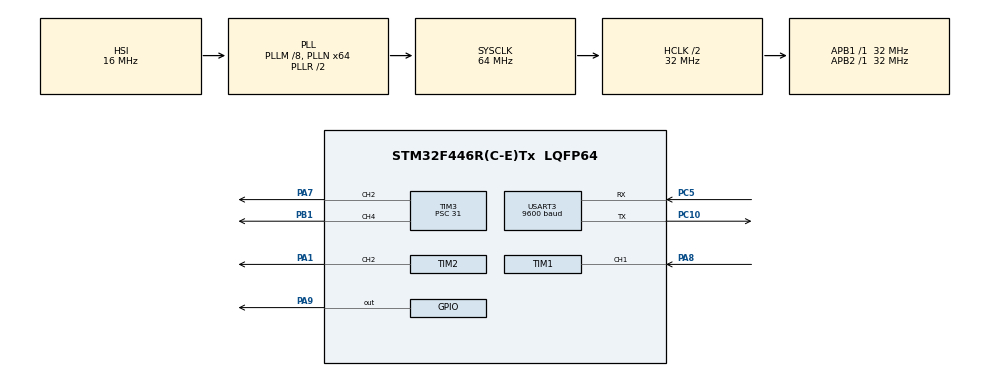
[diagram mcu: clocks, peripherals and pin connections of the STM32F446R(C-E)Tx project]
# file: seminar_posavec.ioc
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Mcu.Family=STM32F4
Mcu.Name=STM32F446R(C-E)Tx
Mcu.Package=LQFP64
NVIC.PriorityGroup=NVIC_PRIORITYGROUP_4
NVIC.TIM1_CC_IRQn=true\:2\:0\:true\:false\:true\:true\:true\:true
NVIC.USART3_IRQn=true\:0\:0\:false\:false\:true\:true\:true\:true
PA1.Signal=S_TIM2_CH2
PA13.Mode=Serial_Wire
PA13.Signal=SYS_JTMS-SWDIO
PA14.Mode=Serial_Wire
PA14.Signal=SYS_JTCK-SWCLK
PA7.Signal=S_TIM3_CH2
PA8.Signal=S_TIM1_CH1
PA9.Signal=GPIO_Output
PB1.Signal=S_TIM3_CH4
PC10.Mode=Asynchronous
PC10.Signal=USART3_TX
PC5.Mode=Asynchronous
PC5.Signal=USART3_RX
ProjectManager.HeapSize=0x200
ProjectManager.StackSize=0x400
ProjectManager.TargetToolchain=STM32CubeIDE
RCC.AHBCLKDivider=RCC_SYSCLK_DIV2
RCC.AHBFreq_Value=32000000
RCC.APB1Freq_Value=32000000
RCC.APB1TimFreq_Value=32000000
RCC.APB2Freq_Value=32000000
RCC.APB2TimFreq_Value=32000000
RCC.CortexFreq_Value=32000000
RCC.HCLKFreq_Value=32000000
RCC.PLLM=8
RCC.PLLN=64
RCC.SYSCLKFreq_VALUE=64000000
RCC.SYSCLKSource=RCC_SYSCLKSOURCE_PLLRCLK
RCC.USBFreq_Value=64000000
RCC.VCOOutputFreq_Value=128000000
SH.S_TIM1_CH1.0=TIM1_CH1,Input_Capture1_from_TI1
SH.S_TIM2_CH2.0=TIM2_CH2,PWM Generation2 CH2
SH.S_TIM3_CH2.0=TIM3_CH2,PWM Generation2 CH2
SH.S_TIM3_CH4.0=TIM3_CH4,PWM Generation4 CH4
TIM1.Channel-Input_Capture1_from_TI1=TIM_CHANNEL_1
TIM1.Period=0xffff-1
TIM1.Prescaler=31
TIM2.Channel-PWM\ Generation2\ CH2=TIM_CHANNEL_2
TIM2.Period=19999
TIM2.Prescaler=31
TIM3.Channel-PWM\ Generation2\ CH2=TIM_CHANNEL_2
TIM3.Channel-PWM\ Generation4\ CH4=TIM_CHANNEL_4
TIM3.Period=99
TIM3.Prescaler=31
TIM3.Pulse-PWM\ Generation2\ CH2=0
TIM3.Pulse-PWM\ Generation4\ CH4=0
USART3.BaudRate=9600
USART3.VirtualMode=VM_ASYNC
board=custom

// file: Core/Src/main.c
/* USER CODE BEGIN Header */
/**
  ******************************************************************************
  * @file           : main.c
  * @brief          : Main program body
  ******************************************************************************
  * @attention
  *
  * Copyright (c) 2025 STMicroelectronics.
  * All rights reserved.
  *
  * This software is licensed under terms that can be found in the LICENSE file
  * in the root directory of this software component.
  * If no LICENSE file comes with this software, it is provided AS-IS.
  *
  ******************************************************************************
  */
/* USER CODE END Header */
#include "main.h"
#include "tim.h"
#include "usart.h"
#include "gpio.h"

/* USER CODE BEGIN Includes */
uint32_t Var1 = 0;
uint32_t Var2 = 0;
uint32_t Razlika = 0;
uint8_t Prvi = 0;
uint8_t Udaljenost  = 0;
uint8_t RX_TEKST[1] ={0};
uint8_t TX_tekstA[3] = "ON\n";
uint8_t TX_tekstB[4] = "OFF\n";

/* USER CODE END Includes */

void SystemClock_Config(void);

/* USER CODE BEGIN 0 */
void mikrosekunda (uint16_t time)
 {
 	__HAL_TIM_SET_COUNTER(&htim1, 0);
	while (__HAL_TIM_GET_COUNTER (&htim1) < time);
}

void HCSR04_Read (void)
	{
		HAL_GPIO_WritePin(GPIOA, GPIO_PIN_9, GPIO_PIN_SET);
		mikrosekunda(10);
		HAL_GPIO_WritePin(GPIOA, GPIO_PIN_9, GPIO_PIN_RESET);
		__HAL_TIM_ENABLE_IT(&htim1, TIM_IT_CC1);
	}
void HAL_TIM_IC_CaptureCallback(TIM_HandleTypeDef *htim)
{
	if (htim->Channel == HAL_TIM_ACTIVE_CHANNEL_1)
	{
		if (Prvi==0)
		{
			Var1 = HAL_TIM_ReadCapturedValue(htim, TIM_CHANNEL_1);
			Prvi = 1;
			__HAL_TIM_SET_CAPTUREPOLARITY(htim, TIM_CHANNEL_1, TIM_INPUTCHANNELPOLARITY_FALLING);
		}

		else if (Prvi==1)
		{
			Var2 = HAL_TIM_ReadCapturedValue(htim, TIM_CHANNEL_1);
			__HAL_TIM_SET_COUNTER(htim, 0);

			if (Var2 > Var1)
			{
				Razlika = Var2-Var1;
			}

			else if (Var1 > Var2)
			{
				Razlika = (0xffff - Var1) + Var2;
			}

			Udaljenost = Razlika * 0.034/2;
			Prvi = 0;

			__HAL_TIM_SET_CAPTUREPOLARITY(htim, TIM_CHANNEL_1, TIM_INPUTCHANNELPOLARITY_RISING);
			__HAL_TIM_DISABLE_IT(&htim1, TIM_IT_CC1);
		}
	}
}
volatile uint32_t motor_start = 0;
volatile uint8_t motor_rad = 0;

void HAL_UART_RxCpltCallback(UART_HandleTypeDef *huart)
{
    if (huart->Instance == USART3)
    {
        if (RX_TEKST[0] == '1' && !motor_rad)
        {
            HAL_UART_Transmit(&huart3, TX_tekstA, sizeof(TX_tekstA) - 1, 10);

            __HAL_TIM_SET_COMPARE(&htim3, TIM_CHANNEL_4, 80);
            __HAL_TIM_SET_COMPARE(&htim3, TIM_CHANNEL_2, 0);

            motor_start = HAL_GetTick();
            motor_rad = 1;
        }
        else if (RX_TEKST[0] == '0' && !motor_rad)
        {
            HAL_UART_Transmit(&huart3, TX_tekstB, sizeof(TX_tekstB) - 1, 10);

            __HAL_TIM_SET_COMPARE(&htim3, TIM_CHANNEL_4, 0);
            __HAL_TIM_SET_COMPARE(&htim3, TIM_CHANNEL_2, 80);

            motor_start = HAL_GetTick();
            motor_rad = 1;
        }

        HAL_UART_Receive_IT(&huart3, RX_TEKST, 1);
    }
}

/* USER CODE END 0 */

int main(void)
{

  /* MCU Configuration--------------------------------------------------------*/

  /* Reset of all peripherals, Initializes the Flash interface and the Systick. */
  HAL_Init();

  /* Configure the system clock */
  SystemClock_Config();

  /* Initialize all configured peripherals */
  MX_GPIO_Init();
  MX_TIM1_Init();
  MX_TIM2_Init();
  MX_TIM3_Init();
  MX_USART3_UART_Init();
  /* USER CODE BEGIN 2 */
  HAL_TIM_IC_Start_IT(&htim1, TIM_CHANNEL_1);
  HAL_TIM_PWM_Start(&htim2, TIM_CHANNEL_2);
  HAL_TIM_PWM_Start(&htim3, TIM_CHANNEL_2);
  HAL_TIM_PWM_Start(&htim3, TIM_CHANNEL_4);
  HAL_UART_Receive_IT(&huart3, RX_TEKST, 1);
  /* USER CODE END 2 */

  /* Infinite loop */
  /* USER CODE BEGIN WHILE */
  while (1)
  {

	  if (motor_rad && (HAL_GetTick() - motor_start >= 7000))
	 		   {
	 		  	  __HAL_TIM_SET_COMPARE(&htim3, TIM_CHANNEL_4, 0);
	 		  	  __HAL_TIM_SET_COMPARE(&htim3, TIM_CHANNEL_2, 0);
	 		  	  	motor_rad = 0;
	 		  	  		 }
	  HAL_Delay(10);
	  HCSR04_Read();

		  	  	  if (Udaljenost<=5){
		  	  	  HAL_Delay(200);
		  	  		__HAL_TIM_SET_COMPARE(&htim2, TIM_CHANNEL_2,2500);

		  	  	  }
	       else{

	    		 __HAL_TIM_SET_COMPARE(&htim2, TIM_CHANNEL_2,1500);
	       }

  }
    /* USER CODE END WHILE */

}

void SystemClock_Config(void)
{
  RCC_OscInitTypeDef RCC_OscInitStruct = {0};
  RCC_ClkInitTypeDef RCC_ClkInitStruct = {0};

  /** Configure the main internal regulator output voltage
  */
  __HAL_RCC_PWR_CLK_ENABLE();
  __HAL_PWR_VOLTAGESCALING_CONFIG(PWR_REGULATOR_VOLTAGE_SCALE3);

  /** Initializes the RCC Oscillators according to the specified parameters
  * in the RCC_OscInitTypeDef structure.
  */
  RCC_OscInitStruct.OscillatorType = RCC_OSCILLATORTYPE_HSI;
  RCC_OscInitStruct.HSIState = RCC_HSI_ON;
  RCC_OscInitStruct.HSICalibrationValue = RCC_HSICALIBRATION_DEFAULT;
  RCC_OscInitStruct.PLL.PLLState = RCC_PLL_ON;
  RCC_OscInitStruct.PLL.PLLSource = RCC_PLLSOURCE_HSI;
  RCC_OscInitStruct.PLL.PLLM = 8;
  RCC_OscInitStruct.PLL.PLLN = 64;
  RCC_OscInitStruct.PLL.PLLP = RCC_PLLP_DIV2;
  RCC_OscInitStruct.PLL.PLLQ = 2;
  RCC_OscInitStruct.PLL.PLLR = 2;
  if (HAL_RCC_OscConfig(&RCC_OscInitStruct) != HAL_OK)
  {
    Error_Handler();
  }

  /** Initializes the CPU, AHB and APB buses clocks
  */
  RCC_ClkInitStruct.ClockType = RCC_CLOCKTYPE_HCLK|RCC_CLOCKTYPE_SYSCLK
                              |RCC_CLOCKTYPE_PCLK1|RCC_CLOCKTYPE_PCLK2;
  RCC_ClkInitStruct.SYSCLKSource = RCC_SYSCLKSOURCE_PLLRCLK;
  RCC_ClkInitStruct.AHBCLKDivider = RCC_SYSCLK_DIV2;
  RCC_ClkInitStruct.APB1CLKDivider = RCC_HCLK_DIV1;
  RCC_ClkInitStruct.APB2CLKDivider = RCC_HCLK_DIV1;

  if (HAL_RCC_ClockConfig(&RCC_ClkInitStruct, FLASH_LATENCY_1) != HAL_OK)
  {
    Error_Handler();
  }
}

void Error_Handler(void)
{
  __disable_irq();
  while (1)
  {
  }
}
